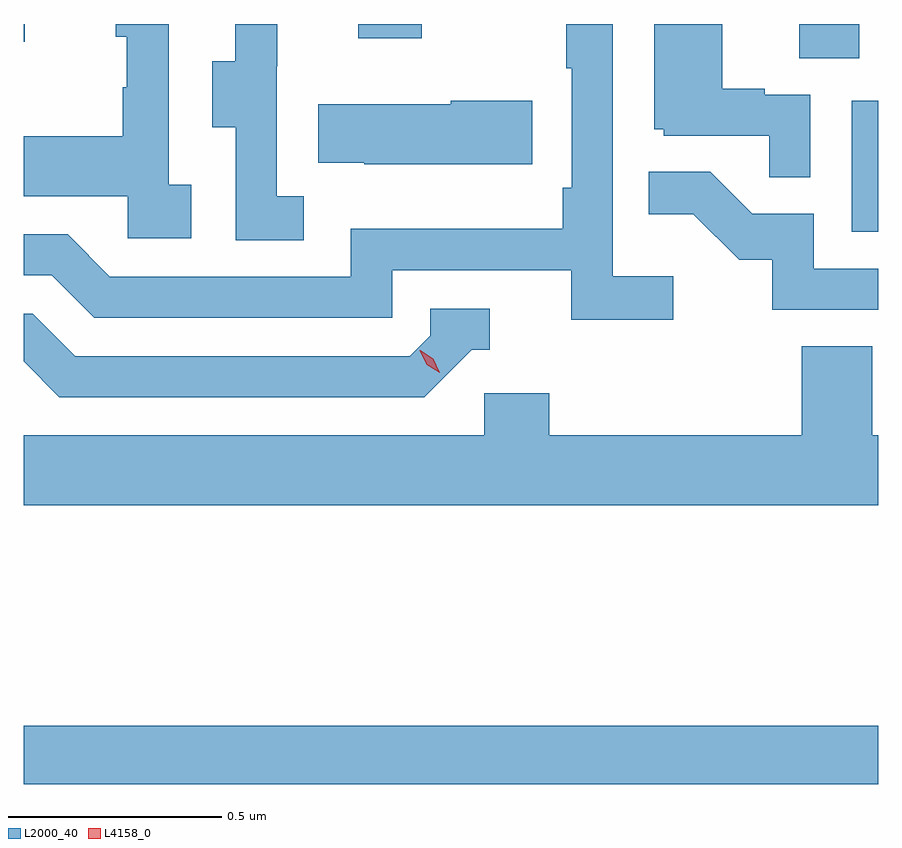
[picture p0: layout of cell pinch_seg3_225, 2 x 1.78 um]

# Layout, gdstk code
import gdstk
lib = gdstk.Library(unit=1e-6, precision=1e-09)
def R(c, l, rs):  # rectangles x0, y0, x1, y1
    for r in rs: c.add(gdstk.rectangle(r[:2], r[2:], *l))
def P(c, l, *ps):  # polygons
    for p in ps: c.add(gdstk.Polygon(p, *l))
L2000_40 = (2000, 40)
L4158_0 = (4158, 0)

pinch_seg3_225 = lib.new_cell('pinch_seg3_225')
R(pinch_seg3_225, L2000_40, [(949.526,742.888,951.526,743.024), (951.464,744.18,951.526,744.487), (951.341,744.586,951.481,744.666), (949.526,744.624,949.529,744.666), (950.309,744.633,950.457,744.666)])
P(pinch_seg3_225, L2000_40, [(950.182,744.263),(950.118,744.263),(950.118,744.567),(950.12,744.567),(950.12,744.666),(950.021,744.666),(950.021,744.579),(949.967,744.579),(949.967,744.424),(950.022,744.424),(950.022,744.16),(950.182,744.16)],
  [(951.366,744.501),(951.26,744.501),(951.26,744.514),(951.16,744.514),(951.16,744.666),(951.002,744.666),(951.002,744.42),(951.024,744.42),(951.024,744.405),(951.271,744.405),(951.271,744.307),(951.366,744.307)],
  [(951.046,744.076),(950.904,744.076),(950.904,744.666),(950.796,744.666),(950.796,744.562),(950.808,744.562),(950.808,744.283),(950.788,744.283),(950.788,744.187),(950.292,744.187),(950.292,744.075),(949.728,744.075),(949.629,744.174),(949.526,744.174),(949.526,744.078),(949.592,744.078),(949.691,743.979),(950.388,743.979),(950.388,744.09),(950.807,744.09),(950.807,743.974),(951.046,743.974)],
  [(949.918,744.29),(949.866,744.29),(949.866,744.666),(949.742,744.666),(949.742,744.636),(949.768,744.636),(949.768,744.518),(949.758,744.518),(949.758,744.403),(949.526,744.403),(949.526,744.263),(949.77,744.263),(949.77,744.165),(949.918,744.165)],
  [(950.716,744.486),(950.525,744.486),(950.525,744.478),(950.215,744.478),(950.215,744.341),(950.323,744.341),(950.323,744.338),(950.716,744.338)],
  [(951.526,744.093),(951.375,744.093),(951.375,744.222),(951.231,744.222),(951.133,744.32),(950.989,744.32),(950.989,744.221),(951.093,744.221),(951.2,744.114),(951.277,744.114),(951.277,743.997),(951.526,743.997)],
  [(950.574,743.904),(950.617,743.904),(950.617,744),(950.478,744),(950.478,743.937),(950.43,743.889),(949.647,743.889),(949.548,743.988),(949.526,743.988),(949.526,743.877),(949.61,743.793),(950.463,743.793)],
  [(951.526,743.704),(951.512,743.704),(951.512,743.912),(951.347,743.912),(951.347,743.704),(950.756,743.704),(950.756,743.802),(950.604,743.802),(950.604,743.704),(949.526,743.704),(949.526,743.54),(951.526,743.54)])
P(pinch_seg3_225, L4158_0, [(950.5,743.85),(950.469,743.869),(950.453,743.902),(950.453,743.903),(950.454,743.903),(950.484,743.883),(950.5,743.85),(950.5,743.85)])

lib.write_gds('pinch_seg3_225.gds')
